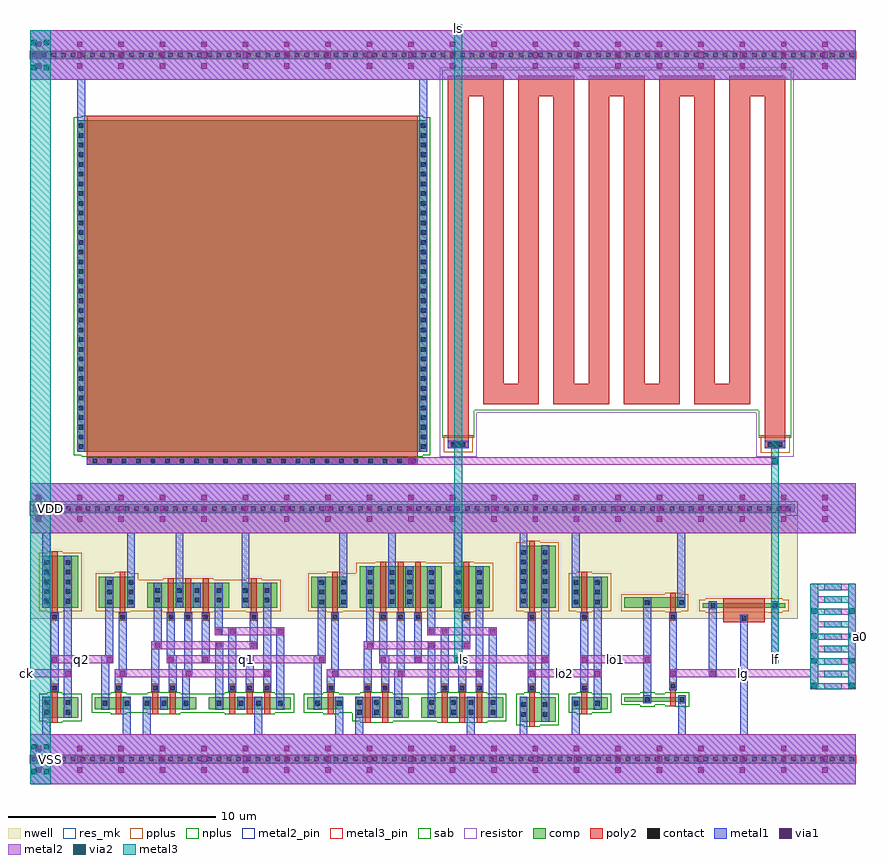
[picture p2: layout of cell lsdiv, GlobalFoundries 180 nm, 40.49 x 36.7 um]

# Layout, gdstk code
import gdstk
lib = gdstk.Library(unit=1e-6, precision=1e-09)
def R(c, l, rs):  # rectangles x0, y0, x1, y1
    for r in rs: c.add(gdstk.rectangle(r[:2], r[2:], *l))
def A(c, l, x, y, w, h, nx, ny, dx, dy):  # array of equal rectangles
    R(c, l, [(x+i*dx, y+j*dy, x+i*dx+w, y+j*dy+h) for i in range(nx) for j in range(ny)])
nwell = (21, 0)
comp = (22, 0)
poly2 = (30, 0)
pplus = (31, 0)
nplus = (32, 0)
contact = (33, 0)
metal1 = (34, 0)
via1 = (35, 0)
metal2 = (36, 0)
metal2_pin = (36, 10)
via2 = (38, 0)
metal3 = (42, 0)
metal3_pin = (42, 10)
sab = (49, 0)
resistor = (62, 0)
res_mk = (110, 5)

lsdiv = lib.new_cell('lsdiv')
R(lsdiv, nwell, [(0.3,5.585,37.38,11.255)])
R(lsdiv, comp, [(0.3,-1.39,40.19,-1.01), (23.95,0.6,25.68,1.8), (0.9,0.8,2.63,1.8), (16.02,0.8,18.59,1.8), (19.19,0.8,23.15,1.8), (3.43,1.2,5.16,1.8), (5.76,1.2,8.33,1.8), (8.93,1.2,12.89,1.8), (13.69,1.2,15.42,1.8), (26.48,1.2,28.21,1.8), (29.92,1.5,30.3,1.58), (31.6,1.5,31.98,1.58), (29.01,1.58,31.98,1.8), (29.92,1.8,30.3,1.88), (31.6,1.8,31.98,1.88), (33.09,6.035,33.47,6.115), (36.09,6.035,36.47,6.115), (0.9,6.115,2.63,8.615), (3.63,6.115,5.36,7.615), (5.96,6.115,9.92,7.315), (10.52,6.115,12.25,7.315), (13.89,6.115,15.62,7.615), (16.22,6.115,20.18,8.115), (20.78,6.115,22.51,8.115), (23.95,6.115,25.68,9.115), (26.48,6.115,28.21,7.615), (29.01,6.115,31.94,6.615), (32.78,6.115,36.78,6.335), (33.09,6.335,33.47,6.415), (36.09,6.335,36.47,6.415), (0.45,10.725,37.23,11.105), (2.58,13.645,19.48,29.645), (0.3,32.615,40.19,32.995)])
A(lsdiv, poly2, 20.19, 0.57, 0.28, 1.49, 3, 1, 0.84, 0)
A(lsdiv, poly2, 9.93, 0.97, 0.28, 1.09, 3, 1, 0.84, 0)
A(lsdiv, poly2, 9.885, 2.06, 0.37, 0.37, 3, 1, 0.84, 0)
A(lsdiv, poly2, 20.145, 2.06, 0.37, 0.37, 3, 1, 0.84, 0)
A(lsdiv, poly2, 6.915, 5.485, 0.37, 0.37, 3, 1, 0.84, 0)
A(lsdiv, poly2, 17.175, 5.485, 0.37, 0.37, 3, 1, 0.84, 0)
A(lsdiv, poly2, 6.96, 5.855, 0.28, 1.69, 3, 1, 0.84, 0)
A(lsdiv, poly2, 17.22, 5.855, 0.28, 2.49, 3, 1, 0.84, 0)
A(lsdiv, poly2, 22.18, 15.935, 2.7, 1, 4, 1, 3.4, 0)
A(lsdiv, poly2, 22.18, 16.935, 1, 13.88, 8, 1, 1.7, 0)
A(lsdiv, poly2, 20.48, 30.815, 2.7, 1, 5, 1, 3.4, 0)
R(lsdiv, poly2, [(24.4,0.37,24.68,2.06), (1.35,0.57,1.63,2.06), (16.47,0.57,16.75,2.06), (17.31,0.57,17.59,2.06), (4.43,0.97,4.71,2.06), (6.21,0.97,6.49,2.06), (7.05,0.97,7.33,2.06), (14.69,0.97,14.97,2.06), (26.93,0.97,27.21,2.06), (31.21,1.35,31.49,2.14), (1.305,2.06,1.675,2.43), (4.385,2.06,4.755,2.43), (6.165,2.06,6.535,2.43), (7.005,2.06,7.375,2.43), (14.645,2.06,15.015,2.43), (16.425,2.06,16.795,2.43), (17.265,2.06,17.635,2.43), (24.355,2.06,24.725,2.43), (26.885,2.06,27.255,2.43), (31.165,2.14,31.535,2.51), (33.78,5.405,35.78,6.565), (1.305,5.485,1.675,5.855), (4.585,5.485,4.955,5.855), (10.925,5.485,11.295,5.855), (14.845,5.485,15.215,5.855), (21.185,5.485,21.555,5.855), (24.355,5.485,24.725,5.855), (26.885,5.485,27.255,5.855), (31.165,5.485,31.535,5.855), (1.35,5.855,1.63,8.845), (4.63,5.855,4.91,7.845), (10.97,5.855,11.25,7.545), (14.89,5.855,15.17,7.845), (21.23,5.855,21.51,8.345), (24.4,5.855,24.68,9.345), (26.93,5.855,27.21,7.845), (31.21,5.855,31.49,6.845), (3.03,13.015,19.03,29.875), (35.78,13.81,36.78,30.815), (20.48,13.815,21.48,30.815)])
R(lsdiv, pplus, [(0.28,-1.41,40.21,-0.99), (32.93,5.875,33.63,5.885), (35.93,5.875,36.63,5.885), (1.12,5.885,1.86,5.955), (4.4,5.885,5.14,5.955), (6.73,5.885,9.15,5.955), (10.74,5.885,11.48,5.955), (14.66,5.885,15.4,5.955), (16.99,5.885,19.41,5.955), (21,5.885,21.74,5.955), (24.17,5.885,24.91,5.955), (26.7,5.885,27.44,5.955), (30.98,5.885,31.72,5.955), (32.93,5.885,36.63,5.955), (0.74,5.955,2.79,8.775), (3.47,5.955,12.41,7.475), (13.73,5.955,22.67,7.775), (23.79,5.955,25.84,9.275), (26.32,5.955,28.37,7.775), (28.85,5.955,32.1,6.775), (32.62,5.955,36.94,6.495), (32.93,6.495,36.63,6.565), (32.93,6.565,33.63,6.575), (35.93,6.565,36.63,6.575), (30.98,6.775,31.72,6.845), (3.47,7.475,5.52,7.775), (6.73,7.475,9.15,7.545), (10.74,7.475,11.48,7.545), (4.4,7.775,5.14,7.845), (14.66,7.775,15.4,7.845), (16.06,7.775,22.67,8.275), (26.7,7.775,27.44,7.845), (16.99,8.275,19.41,8.345), (21,8.275,21.74,8.345), (1.12,8.775,1.86,8.845), (24.17,9.275,24.91,9.345), (35.58,13.61,36.98,14.42), (20.28,13.615,21.68,14.425), (0.28,32.595,40.21,33.015)])
R(lsdiv, nplus, [(24.17,0.37,24.91,0.44), (23.79,0.44,25.84,1.96), (1.12,0.57,1.86,0.64), (16.24,0.57,17.82,0.64), (19.96,0.57,22.38,0.64), (0.74,0.64,2.79,1.96), (15.86,0.64,23.31,1.04), (4.2,0.97,4.94,1.04), (5.98,0.97,7.56,1.04), (9.7,0.97,12.12,1.04), (14.46,0.97,15.2,1.04), (26.7,0.97,27.44,1.04), (3.27,1.04,13.05,1.96), (13.53,1.04,23.31,1.96), (26.32,1.04,28.37,1.96), (29.76,1.34,30.46,1.42), (31.44,1.34,32.14,1.35), (30.98,1.35,32.14,1.42), (28.85,1.42,32.14,1.96), (1.12,1.96,1.86,2.03), (4.2,1.96,4.94,2.03), (5.98,1.96,7.56,2.03), (9.7,1.96,12.12,2.03), (14.46,1.96,15.2,2.03), (16.24,1.96,17.82,2.03), (19.96,1.96,22.38,2.03), (24.17,1.96,24.91,2.03), (26.7,1.96,27.44,2.03), (29.76,1.96,30.46,2.04), (30.98,1.96,32.14,2.03), (31.44,2.03,32.14,2.04), (0.29,10.565,0.89,10.665), (36.79,10.565,37.39,10.665), (0.29,10.665,37.39,11.265), (2.8,13.415,19.26,13.485), (2.42,13.485,19.64,29.805), (2.8,29.805,19.26,29.875)])
A(lsdiv, contact, 0.395, -1.31, 0.22, 0.22, 85, 2, 0.47, 34.005)
A(lsdiv, contact, 9.96, 2.135, 0.22, 0.22, 3, 1, 0.84, 0)
A(lsdiv, contact, 20.22, 2.135, 0.22, 0.22, 3, 1, 0.84, 0)
A(lsdiv, contact, 6.99, 5.56, 0.22, 0.22, 3, 1, 0.84, 0)
A(lsdiv, contact, 17.25, 5.56, 0.22, 0.22, 3, 1, 0.84, 0)
A(lsdiv, contact, 4.02, 6.285, 0.22, 0.22, 1, 3, 0, 0.47)
A(lsdiv, contact, 5.065, 6.285, 0.22, 0.22, 1, 3, 0, 0.47)
A(lsdiv, contact, 14.28, 6.285, 0.22, 0.22, 1, 3, 0, 0.47)
A(lsdiv, contact, 15.325, 6.285, 0.22, 0.22, 1, 3, 0, 0.47)
A(lsdiv, contact, 26.555, 6.285, 0.22, 0.22, 1, 3, 0, 0.47)
A(lsdiv, contact, 27.6, 6.285, 0.22, 0.22, 1, 3, 0, 0.47)
A(lsdiv, contact, 16.61, 6.3, 0.22, 0.22, 1, 4, 0, 0.47)
A(lsdiv, contact, 17.67, 6.3, 0.22, 0.22, 1, 4, 0, 0.47)
A(lsdiv, contact, 18.51, 6.3, 0.22, 0.22, 1, 4, 0, 0.47)
A(lsdiv, contact, 19.57, 6.3, 0.22, 0.22, 1, 4, 0, 0.47)
A(lsdiv, contact, 20.855, 6.3, 0.22, 0.22, 1, 4, 0, 0.47)
A(lsdiv, contact, 21.9, 6.3, 0.22, 0.22, 1, 4, 0, 0.47)
A(lsdiv, contact, 0.975, 6.315, 0.22, 0.22, 1, 5, 0, 0.47)
A(lsdiv, contact, 2.02, 6.315, 0.22, 0.22, 1, 5, 0, 0.47)
A(lsdiv, contact, 24.025, 6.33, 0.22, 0.22, 1, 6, 0, 0.47)
A(lsdiv, contact, 25.07, 6.33, 0.22, 0.22, 1, 6, 0, 0.47)
A(lsdiv, contact, 0.635, 10.805, 0.22, 0.22, 78, 1, 0.47, 0)
A(lsdiv, contact, 3.335, 13.09, 0.22, 0.22, 23, 1, 0.7, 0)
A(lsdiv, contact, 2.66, 13.78, 0.22, 0.22, 1, 34, 0, 0.47)
A(lsdiv, contact, 19.18, 13.78, 0.22, 0.22, 1, 34, 0, 0.47)
R(lsdiv, contact, [(24.025,0.855,24.245,1.075), (25.07,0.855,25.29,1.075), (0.975,0.955,1.195,1.175), (2.02,0.955,2.24,1.175), (16.095,0.955,16.315,1.175), (16.92,0.955,17.14,1.175), (17.98,0.955,18.2,1.175), (19.58,0.955,19.8,1.175), (20.64,0.955,20.86,1.175), (21.48,0.955,21.7,1.175), (22.54,0.955,22.76,1.175), (24.025,1.325,24.245,1.545), (25.07,1.325,25.29,1.545), (3.82,1.39,4.04,1.61), (4.865,1.39,5.085,1.61), (5.835,1.39,6.055,1.61), (6.66,1.39,6.88,1.61), (7.72,1.39,7.94,1.61), (9.32,1.39,9.54,1.61), (10.38,1.39,10.6,1.61), (11.22,1.39,11.44,1.61), (12.28,1.39,12.5,1.61), (14.08,1.39,14.3,1.61), (15.125,1.39,15.345,1.61), (26.555,1.39,26.775,1.61), (27.6,1.39,27.82,1.61), (0.975,1.425,1.195,1.645), (2.02,1.425,2.24,1.645), (16.095,1.425,16.315,1.645), (16.92,1.425,17.14,1.645), (17.98,1.425,18.2,1.645), (19.58,1.425,19.8,1.645), (20.64,1.425,20.86,1.645), (21.48,1.425,21.7,1.645), (22.54,1.425,22.76,1.645), (30,1.58,30.22,1.8), (31.68,1.58,31.9,1.8), (1.38,2.135,1.6,2.355), (4.46,2.135,4.68,2.355), (6.24,2.135,6.46,2.355), (7.08,2.135,7.3,2.355), (14.72,2.135,14.94,2.355), (16.5,2.135,16.72,2.355), (17.34,2.135,17.56,2.355), (24.43,2.135,24.65,2.355), (26.96,2.135,27.18,2.355), (31.24,2.215,31.46,2.435), (34.67,5.48,34.89,5.7), (1.38,5.56,1.6,5.78), (4.66,5.56,4.88,5.78), (11,5.56,11.22,5.78), (14.92,5.56,15.14,5.78), (21.26,5.56,21.48,5.78), (24.43,5.56,24.65,5.78), (26.96,5.56,27.18,5.78), (31.24,5.56,31.46,5.78), (33.17,6.115,33.39,6.335), (36.17,6.115,36.39,6.335), (30,6.255,30.22,6.475), (31.645,6.255,31.865,6.475), (6.35,6.37,6.57,6.59), (7.41,6.37,7.63,6.59), (8.25,6.37,8.47,6.59), (9.31,6.37,9.53,6.59), (10.595,6.37,10.815,6.59), (11.64,6.37,11.86,6.59), (6.35,6.84,6.57,7.06), (7.41,6.84,7.63,7.06), (8.25,6.84,8.47,7.06), (9.31,6.84,9.53,7.06), (10.595,6.84,10.815,7.06), (11.64,6.84,11.86,7.06), (35.935,13.88,36.155,14.1), (36.405,13.88,36.625,14.1), (20.635,13.885,20.855,14.105), (21.105,13.885,21.325,14.105)])
R(lsdiv, metal1, [(0.3,-2.4,40.19,0), (0.895,0,1.275,1.805), (4.785,0,5.165,1.805), (5.755,0,6.135,1.805), (11.14,0,11.52,1.805), (15.045,0,15.425,1.805), (16.015,0,16.395,1.805), (21.4,0,21.78,1.805), (23.945,0,24.325,1.805), (26.475,0,26.855,1.805), (31.6,0,31.98,1.885), (34.59,0,34.97,5.78), (24.99,0.595,25.37,9.12), (1.94,0.795,2.32,8.62), (16.84,0.795,17.22,1.805), (17.9,0.795,18.28,2.75), (19.5,0.795,19.88,4.49), (20.56,0.795,20.94,1.805), (22.46,0.795,22.84,5.17), (3.74,1.195,4.12,3.43), (6.58,1.195,6.96,1.805), (7.64,1.195,8.02,2.75), (9.24,1.195,9.62,4.49), (10.3,1.195,10.68,1.805), (12.2,1.195,12.58,5.17), (14,1.195,14.38,3.43), (27.52,1.195,27.9,7.62), (29.92,1.495,30.3,6.62), (1.3,2.055,1.68,5.86), (4.38,2.055,4.76,2.75), (6.16,2.055,6.54,4.11), (7,2.055,7.38,3.43), (9.88,2.055,10.26,5.17), (10.72,2.055,11.1,3.81), (11.56,2.055,11.94,7.32), (14.64,2.055,15.02,2.75), (16.42,2.055,16.8,4.11), (17.26,2.055,17.64,3.43), (20.14,2.055,20.52,5.17), (20.98,2.055,21.36,3.81), (21.82,2.055,22.2,8.12), (24.35,2.055,24.73,5.86), (26.88,2.055,27.26,5.86), (31.16,2.135,31.54,5.86), (4.38,2.75,4.96,3.13), (7.64,2.75,8.13,3.13), (14.64,2.75,15.22,3.13), (17.9,2.75,18.39,3.13), (33.09,2.75,33.47,6.42), (4.58,3.13,4.96,5.86), (7.75,3.13,8.13,5.86), (14.84,3.13,15.22,5.86), (18.01,3.13,18.39,5.86), (3.74,3.43,4.32,3.81), (6.91,3.43,7.38,3.81), (8.59,3.43,8.97,5.86), (14,3.43,14.58,3.81), (17.17,3.43,17.64,3.81), (18.85,3.43,19.23,5.86), (36.09,3.43,36.47,6.42), (3.94,3.81,4.32,7.62), (6.91,3.81,7.29,5.86), (14.2,3.81,14.58,7.62), (17.17,3.81,17.55,5.86), (6.16,4.11,6.65,4.49), (10.92,4.11,11.3,5.86), (16.42,4.11,16.91,4.49), (21.18,4.11,21.56,5.86), (6.27,4.49,6.65,7.32), (16.53,4.49,16.91,8.12), (9.23,4.79,9.61,7.32), (19.49,4.79,19.87,8.12), (0.895,6.11,1.275,9.715), (4.985,6.11,5.365,9.715), (7.33,6.11,7.71,9.715), (8.17,6.11,8.55,7.32), (10.515,6.11,10.895,9.715), (15.245,6.11,15.625,9.715), (17.59,6.11,17.97,9.715), (18.43,6.11,18.81,8.12), (20.775,6.11,21.155,9.715), (23.945,6.11,24.325,9.715), (26.475,6.11,26.855,9.715), (31.565,6.11,31.945,9.715), (0.3,9.715,40.19,12.115), (18.54,13.01,18.92,13.015), (3.03,13.015,19.03,13.385), (18.54,13.385,18.92,13.39), (2.58,13.645,2.96,31.605), (19.1,13.645,19.48,31.605), (36.09,13.8,36.47,13.81), (20.79,13.805,21.17,13.815), (35.78,13.81,36.78,14.17), (20.48,13.815,21.48,14.175), (36.09,14.17,36.47,14.18), (20.79,14.175,21.17,14.185), (0.3,31.605,40.19,34.005)])
A(lsdiv, via1, 0.57, -1.85, 0.26, 0.26, 20, 3, 2, 0.52)
A(lsdiv, via1, 0.57, 10.265, 0.26, 0.26, 20, 3, 2, 0.52)
A(lsdiv, via1, 0.57, 32.155, 0.26, 0.26, 20, 3, 2, 0.52)
R(lsdiv, via1, [(2,2.81,2.26,3.07), (4.64,2.81,4.9,3.07), (7.81,2.81,8.07,3.07), (11.62,2.81,11.88,3.07), (14.9,2.81,15.16,3.07), (18.07,2.81,18.33,3.07), (21.88,2.81,22.14,3.07), (24.41,2.81,24.67,3.07), (27.58,2.81,27.84,3.07), (31.22,2.81,31.48,3.07), (33.15,2.81,33.41,3.07), (1.36,3.49,1.62,3.75), (4,3.49,4.26,3.75), (6.97,3.49,7.23,3.75), (8.65,3.49,8.91,3.75), (10.78,3.49,11.04,3.75), (14.26,3.49,14.52,3.75), (17.23,3.49,17.49,3.75), (18.91,3.49,19.17,3.75), (21.04,3.49,21.3,3.75), (25.05,3.49,25.31,3.75), (26.94,3.49,27.2,3.75), (29.98,3.49,30.24,3.75), (36.15,3.49,36.41,3.75), (6.33,4.17,6.59,4.43), (9.3,4.17,9.56,4.43), (10.98,4.17,11.24,4.43), (16.59,4.17,16.85,4.43), (19.56,4.17,19.82,4.43), (21.24,4.17,21.5,4.43), (9.29,4.85,9.55,5.11), (9.94,4.85,10.2,5.11), (12.26,4.85,12.52,5.11), (19.55,4.85,19.81,5.11), (20.2,4.85,20.46,5.11), (22.52,4.85,22.78,5.11), (18.6,13.07,18.86,13.33), (36.15,13.86,36.41,14.12), (20.85,13.865,21.11,14.125)])
A(lsdiv, metal2, 37.98, 3.965, 1.53, 0.3, 1, 3, 0, 1.2)
R(lsdiv, metal2, [(0.3,-2.4,40.19,0), (37.98,2.165,38.36,2.75), (38.66,2.165,40.19,2.465), (39.81,2.465,40.19,3.365), (0,2.75,2.32,3.13), (4.38,2.75,11.94,3.13), (14.64,2.75,22.2,3.13), (24.35,2.75,27.9,3.13), (31.16,2.75,38.36,2.765), (31.16,2.765,39.51,3.065), (31.16,3.065,38.36,3.13), (37.98,3.13,38.36,3.965), (38.66,3.365,40.19,3.665), (1.3,3.43,4.32,3.81), (6.91,3.43,14.58,3.81), (17.17,3.43,25.37,3.81), (26.88,3.43,30.3,3.81), (36.09,3.43,36.47,3.81), (39.81,3.665,40.19,4.525), (6.16,4.11,11.3,4.49), (16.42,4.11,21.56,4.49), (37.98,4.265,38.36,5.165), (39.81,4.525,40.49,4.565), (38.66,4.565,40.49,4.865), (9.23,4.79,12.58,5.17), (19.49,4.79,22.84,5.17), (39.81,4.865,40.49,4.905), (39.81,4.905,40.19,5.765), (37.98,5.465,38.36,6.365), (38.66,5.765,40.19,6.065), (39.81,6.065,40.19,6.965), (37.98,6.665,38.36,7.265), (38.66,6.965,40.19,7.265), (0.3,9.715,40.19,12.115), (18.54,13.01,36.47,13.39), (36.09,13.8,36.47,14.18), (20.79,13.805,21.17,14.185), (0.3,31.605,40.19,34.005)])
R(lsdiv, metal2_pin, [(1.25,-1.25,1.35,-1.15), (0.1,2.89,0.2,2.99), (40.34,4.665,40.44,4.765), (1.25,10.865,1.35,10.965)])
A(lsdiv, via2, 38.04, 2.225, 0.26, 0.26, 1, 4, 0, 1.2)
A(lsdiv, via2, 39.87, 2.225, 0.26, 0.26, 1, 4, 0, 1.2)
R(lsdiv, via2, [(0.37,-1.93,0.63,-1.67), (0.97,-1.93,1.23,-1.67), (0.37,-0.73,0.63,-0.47), (0.97,-0.73,1.23,-0.47), (20.85,3.49,21.11,3.75), (36.15,3.49,36.41,3.75), (36.15,13.07,36.41,13.33), (36.15,13.86,36.41,14.12), (20.85,13.865,21.11,14.125), (0.37,32.075,0.63,32.335), (0.97,32.075,1.23,32.335), (0.37,33.275,0.63,33.535), (0.97,33.275,1.23,33.535)])
A(lsdiv, metal3, 37.98, 2.165, 1.53, 0.3, 1, 5, 0, 1.2)
A(lsdiv, metal3, 37.98, 2.465, 0.38, 0.9, 1, 4, 0, 1.2)
A(lsdiv, metal3, 38.66, 2.765, 1.53, 0.3, 1, 4, 0, 1.2)
A(lsdiv, metal3, 39.81, 3.065, 0.38, 0.9, 1, 3, 0, 1.2)
R(lsdiv, metal3, [(0.3,-2.4,1.3,34.005), (39.81,2.165,40.19,2.765), (20.79,3.43,21.17,34.305), (36.09,3.43,36.47,14.18), (39.81,6.665,40.19,7.265)])
R(lsdiv, metal3_pin, [(20.93,34.055,21.03,34.155)])
A(lsdiv, sab, 21.9, 15.655, 3.26, 1.56, 4, 1, 3.4, 0)
A(lsdiv, sab, 21.9, 17.215, 1.56, 13.32, 8, 1, 1.7, 0)
A(lsdiv, sab, 20.2, 30.535, 3.26, 1.56, 5, 1, 3.4, 0)
R(lsdiv, sab, [(35.5,14.32,37.06,30.535), (20.2,14.325,21.76,30.535), (35.5,14.42,37.06,15.655), (20.2,14.425,21.76,15.655), (20.2,15.655,37.06,32.095)])
R(lsdiv, resistor, [(35.38,13.41,37.18,15.535), (20.08,13.415,21.88,15.535), (20.08,15.535,37.18,32.215)])
A(lsdiv, res_mk, 22.18, 15.935, 2.7, 1, 4, 1, 3.4, 0)
A(lsdiv, res_mk, 22.18, 16.935, 1, 13.88, 8, 1, 1.7, 0)
A(lsdiv, res_mk, 20.48, 30.815, 2.7, 1, 5, 1, 3.4, 0)
R(lsdiv, res_mk, [(35.5,14.42,37.06,15.655), (35.78,14.42,36.78,30.815), (20.2,14.425,21.76,15.655), (20.48,14.425,21.48,30.815), (20.2,15.655,37.06,32.095)])
lsdiv.add(gdstk.Label('lg', (34.76,2.94), layer=36, texttype=0))
lsdiv.add(gdstk.Label('ls', (21.27,3.62), layer=36, texttype=0))
lsdiv.add(gdstk.Label('lo1', (28.59,3.62), layer=36, texttype=0))
lsdiv.add(gdstk.Label('lo2', (26.125,2.94), layer=36, texttype=0))
lsdiv.add(gdstk.Label('q1', (10.745,3.62), layer=36, texttype=0))
lsdiv.add(gdstk.Label('q2', (2.81,3.62), layer=36, texttype=0))
lsdiv.add(gdstk.Label('ck', (0.15,2.94), layer=36, texttype=10))
lsdiv.add(gdstk.Label('a0', (40.39,4.715), layer=36, texttype=10))
lsdiv.add(gdstk.Label('VSS', (1.3,-1.2), layer=36, texttype=10))
lsdiv.add(gdstk.Label('VDD', (1.3,10.915), layer=36, texttype=10))
lsdiv.add(gdstk.Label('lf', (36.28,3.62), layer=42, texttype=0))
lsdiv.add(gdstk.Label('ls', (20.98,34.105), layer=42, texttype=10))

lib.write_gds('lsdiv.gds')
